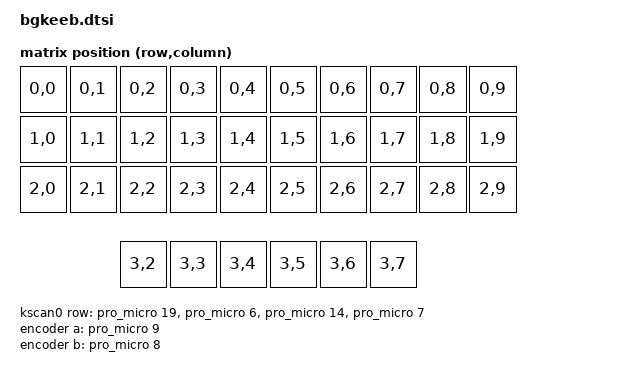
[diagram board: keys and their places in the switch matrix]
#include <dt-bindings/zmk/matrix_transform.h>
#include <physical_layouts.dtsi>


/ {
    chosen {
        zmk,kscan = &kscan0;
        zmk,physical-layout = &physical_layout0;
    };

    physical_layout0: physical_layout_0 {
        compatible = "zmk,physical-layout";
        display-name = "bgkeeb default";
        transform = <&default_transform>;
        kscan = <&kscan0>;
        // Units in hundredths-of-u (1u = 100). Layout: 10 cols × 4 rows.
        // Cols 0-4 = left half, cols 5-9 = right half (gapless).
        keys  // width   height   x      y      r rx ry
            = <&key_physical_attrs 100 100    0     0    0  0  0>  /* RC(0,0) left half top-left */
            , <&key_physical_attrs 100 100  100     0    0  0  0>  /* RC(0,1) */
            , <&key_physical_attrs 100 100  200     0    0  0  0>  /* RC(0,2) */
            , <&key_physical_attrs 100 100  300     0    0  0  0>  /* RC(0,3) */
            , <&key_physical_attrs 100 100  400     0    0  0  0>  /* RC(0,4) */
            , <&key_physical_attrs 100 100  500     0    0  0  0>  /* RC(0,5) right half top-left */
            , <&key_physical_attrs 100 100  600     0    0  0  0>  /* RC(0,6) */
            , <&key_physical_attrs 100 100  700     0    0  0  0>  /* RC(0,7) */
            , <&key_physical_attrs 100 100  800     0    0  0  0>  /* RC(0,8) */
            , <&key_physical_attrs 100 100  900     0    0  0  0>  /* RC(0,9) right half top-right */
            , <&key_physical_attrs 100 100    0   100    0  0  0>  /* RC(1,0) */
            , <&key_physical_attrs 100 100  100   100    0  0  0>  /* RC(1,1) */
            , <&key_physical_attrs 100 100  200   100    0  0  0>  /* RC(1,2) */
            , <&key_physical_attrs 100 100  300   100    0  0  0>  /* RC(1,3) */
            , <&key_physical_attrs 100 100  400   100    0  0  0>  /* RC(1,4) */
            , <&key_physical_attrs 100 100  500   100    0  0  0>  /* RC(1,5) */
            , <&key_physical_attrs 100 100  600   100    0  0  0>  /* RC(1,6) */
            , <&key_physical_attrs 100 100  700   100    0  0  0>  /* RC(1,7) */
            , <&key_physical_attrs 100 100  800   100    0  0  0>  /* RC(1,8) */
            , <&key_physical_attrs 100 100  900   100    0  0  0>  /* RC(1,9) */
            , <&key_physical_attrs 100 100    0   200    0  0  0>  /* RC(2,0) */
            , <&key_physical_attrs 100 100  100   200    0  0  0>  /* RC(2,1) */
            , <&key_physical_attrs 100 100  200   200    0  0  0>  /* RC(2,2) */
            , <&key_physical_attrs 100 100  300   200    0  0  0>  /* RC(2,3) */
            , <&key_physical_attrs 100 100  400   200    0  0  0>  /* RC(2,4) */
            , <&key_physical_attrs 100 100  500   200    0  0  0>  /* RC(2,5) */
            , <&key_physical_attrs 100 100  600   200    0  0  0>  /* RC(2,6) */
            , <&key_physical_attrs 100 100  700   200    0  0  0>  /* RC(2,7) */
            , <&key_physical_attrs 100 100  800   200    0  0  0>  /* RC(2,8) */
            , <&key_physical_attrs 100 100  900   200    0  0  0>  /* RC(2,9) */
            , <&key_physical_attrs 100 100  200   350    0  0  0>  /* RC(3,2) left thumb inner */
            , <&key_physical_attrs 100 100  300   350    0  0  0>  /* RC(3,3) left thumb */
            , <&key_physical_attrs 100 100  400   350    0  0  0>  /* RC(3,4) left thumb outer */
            , <&key_physical_attrs 100 100  500   350    0  0  0>  /* RC(3,5) right thumb inner */
            , <&key_physical_attrs 100 100  600   350    0  0  0>  /* RC(3,6) right thumb */
            , <&key_physical_attrs 100 100  700   350    0  0  0>  /* RC(3,7) right thumb outer */
            ;
    };

    default_transform: keymap_transform_0 {
        compatible = "zmk,matrix-transform";
        columns = <10>;
        rows = <4>;

        // Identity transform: each physical position = keymap position.
        // Combined with col-offset=5 on the right half, the right half's
        // physical cols 0-4 map to keymap cols 5-9.
        map = <
            RC(0,0) RC(0,1) RC(0,2) RC(0,3) RC(0,4) RC(0,5) RC(0,6) RC(0,7) RC(0,8) RC(0,9)
            RC(1,0) RC(1,1) RC(1,2) RC(1,3) RC(1,4) RC(1,5) RC(1,6) RC(1,7) RC(1,8) RC(1,9)
            RC(2,0) RC(2,1) RC(2,2) RC(2,3) RC(2,4) RC(2,5) RC(2,6) RC(2,7) RC(2,8) RC(2,9)
            RC(3,2) RC(3,3) RC(3,4) RC(3,5) RC(3,6) RC(3,7)
        >;
    };

    kscan0: kscan {
        compatible = "zmk,kscan-gpio-matrix";
        label = "KSCAN";

        diode-direction = "col2row";
        // Diode direction: matches the empirical behavior of the PCB.
        // The earlier session notes about "row2col" turned out to NOT be the
        // physical reality — flipping direction breaks all key detection.
        // cols = outputs driven HIGH, rows = inputs read with pull-down.
        // #define MATRIX_ROW_PINS { F6, D7, B3, E6 }     == { 19, 6, 14, 7 }
        // #define MATRIX_COL_PINS { F4, D4, F5, B1, B2 } == { 21, 4, 20, 15, 16 }
        row-gpios
            = <&pro_micro 19 (GPIO_ACTIVE_HIGH | GPIO_PULL_DOWN)>
            , <&pro_micro 6  (GPIO_ACTIVE_HIGH | GPIO_PULL_DOWN)>
            , <&pro_micro 14 (GPIO_ACTIVE_HIGH | GPIO_PULL_DOWN)>
            , <&pro_micro 7  (GPIO_ACTIVE_HIGH | GPIO_PULL_DOWN)>
            ;
    };

    // #define ENCODERS_PAD_A {B5} {9} {A9}
    // #define ENCODERS_PAD_B {B4} {8} {A8}

    // #define ENCODER_RESOLUTION 2 ------- used default zmk values instead
    encoder: encoder {
        compatible = "alps,ec11";
        label = "encoder";
        a-gpios = <&pro_micro 9 (GPIO_ACTIVE_HIGH | GPIO_PULL_UP)>;
        b-gpios = <&pro_micro 8 (GPIO_ACTIVE_HIGH | GPIO_PULL_UP)>;
        steps = <80>;
        status = "okay";
    };

    sensors: sensors {
        compatible = "zmk,keymap-sensors";
        sensors = <&encoder>;
        triggers-per-rotation = <20>;
        // Encoder bindings via &kp directly (legacy / pre-sensor-bindings).
        // sensor-bindings property removed (not in current zmk,keymap-sensors yaml).
    };

    // Battery monitoring via nRF52840 internal VDDH voltage divider (no extra GPIO).
    // Solo con este nodo + &adc status "okay" (ya hecho por nice_nano base)
    // ZMK empieza a reportar battery % via Studio RPC.
    battery {
        compatible = "zmk,battery-nrf-vddh";
    };
};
